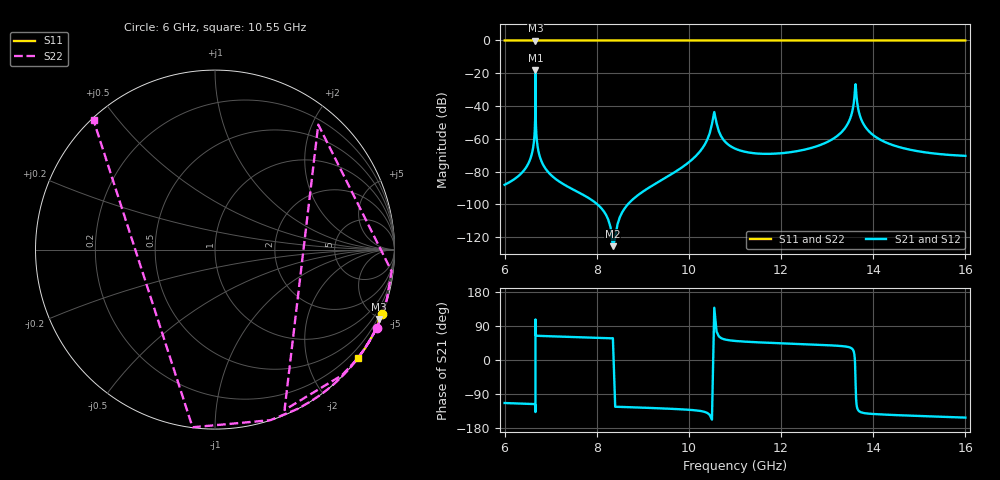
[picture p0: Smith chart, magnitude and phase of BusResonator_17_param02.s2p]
! Sonnet Data File
! From: emgraph Version : 16.54
! From Project: BusResonator_17
! Data is De-embedded
! Data File Written: 08/31/2017 18:33:07
!< HDATE 08/31/2017 16:58:22
!< MDATE 08/31/2017 17:03:00
!< PARAMS
!< BusLengthControl = 600.0
!< END PARAMS
# GHZ S MA R 50.00000
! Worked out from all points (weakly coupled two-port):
!   1395 points, 6 GHz to 16 GHz, reference 50 ohm
!   highest |S21| = -18.16 dB at 6.67 GHz (marker M1); lowest = -125.6 dB at 8.35 GHz (marker M2)
!   lowest |S11| = -0.1 dB at 6.67 GHz (marker M3), VSWR 232.67, Z = 5.39 - j245 ohm
!   |S11| at or under -10 dB: nowhere
!   |S22| runs from -0.9 to 0.0 dB; largest |S21 - S12| = 0
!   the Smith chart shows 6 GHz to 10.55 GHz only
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6  1 -21.2  3.945e-05 -113.5  3.945e-05 -113.5  1 -25.7
!< P1 F=6.0 Eeff=(6.44857038 -2.9736e-5) Z0=(51.7893065 1.19468e-4) R=0.05083541 C=0.00240605
!< P2 F=6.0 Eeff=(6.44857038 -2.9736e-5) Z0=(51.7893065 1.19468e-4) R=0.05083541 C=0.00240605
6.547331  1 -23.1  0.0002222 -115.7  0.0002222 -115.7  1 -28.2
6.641612  1 -23.5  0.0009747 -116.3  0.0009747 -116.3  1 -29.1
6.659886  1 -23.5  0.002841 -117.0  0.002841 -117.0  0.9999 -30.2
6.669584  0.9914 -23.0  0.1236 107.0  0.1236 107.0  0.9032 50.4
6.680999  1 -23.6  0.00234 64.6  0.00234 64.6  1 -27.4
6.706849  1 -23.7  0.000723 64.0  0.000723 64.0  1 -28.4
6.853396  1 -24.2  0.0001459 63.2  0.0001459 63.2  1 -29.4
7.7  1 -27.2  1.959e-05 59.7  1.959e-05 59.7  1 -33.3
8.35  1 -29.5  5.277e-07 57.4  5.277e-07 57.4  1 -36.4
9.35  1 -33.1  4.916e-05 -127.5  4.916e-05 -127.5  1 -41.8
10.5  1 -37.1  0.002809 -157.3  0.002809 -157.3  0.9977 -97.2
11  1 -38.9  0.0005016 50.3  0.0005016 50.3  1 -40.5
12.66924  1 -44.9  0.0005317 40.9  0.0005317 40.9  1 -53.4
13.29938  1 -47.1  0.001529 36.9  0.001529 36.9  1 -59.0
13.56754  0.9999 -48.1  0.009918 25.4  0.009918 25.4  0.9997 -81.1
13.59054  0.9998 -48.2  0.01807 14.7  0.01807 14.7  0.9989 -102.3
13.61095  0.9991 -48.2  0.04291 -30.2  0.04291 -30.2  0.9941 168.0
13.65793  0.9999 -48.4  0.01105 -128.9  0.01105 -128.9  0.9996 -29.5
13.85339  1 -49.1  0.002059 -140.9  0.002059 -140.9  1 -52.8
14.35  1 -50.9  0.0006995 -144.7  0.0006995 -144.7  1 -58.5
16  1 -56.8  0.0003014 -152.0  0.0003014 -152.0  1 -67.2
